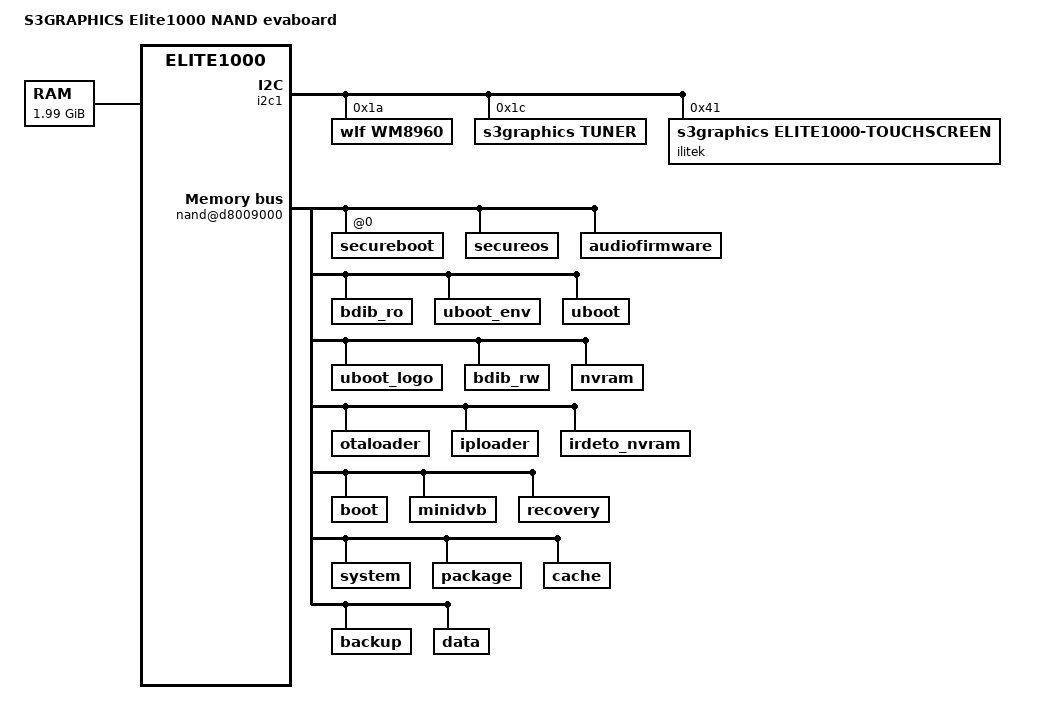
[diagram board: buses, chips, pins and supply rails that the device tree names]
/*
 * Copyright (C) 2013 S3 Graphics - http://www.s3graphics.com/
 *
 * This program is free software; you can redistribute it and/or modify
 * it under the terms of the GNU General Public License version 2 as
 * published by the Free Software Foundation.
 */
/dts-v1/;

/include/ "elite1000.dtsi"


/ {
	model = "S3GRAPHICS Elite1000 NAND evaboard";
	compatible = "s3graphics,board-nand", "s3graphics,elite1000";

	chosen {
		bootargs = "console=ttyS1,115200n8 root=/dev/mmcblk0p1 init=/init rootdelay=2";
	};

	memory {
		reg = < 0x2000000 0x7F800000 >;
	};

	soc {
		uart0: serial@d8200000 {
			status = "disabled";
		};

		cir@d8270000 {
			s3g,cir-mode = <0x0>;
			s3g,wakeup-cfg = <0x0>;
		};

		sdmmc2: sdmmc@d800a800 {
			status = "disabled";
		};

		ehci@d8007800 {
			pwr-gpios = <&gpio 480 0>;
			pwr123-gpios = <&gpio 22 0>;
		};

		i2c1: i2c@d8320000 {
			wm8960: wm8960@1a {
				compatible = "wlf,wm8960";
				reg = <0x1a>;
			};
			tuner@1c {
				compatible = "s3graphics,tuner";
				reg = <0x1c>;
			};
			ilitek@41 {
				compatible = "s3graphics,elite1000-touchscreen";
				reg = <0x41>;
			};
			/*
			wm8326@34 {
				compatible = "wlf,wm8326";
				reg = <0x34>;
			};
			*/
		};

		sound {
			/* for A2 Chip */
			compatible = "s3graphics,elite1000-audio", 
							"s3graphics,elite1000-audio-wm8960";
			s3g,model = "elite-audio";

			s3g,audio-routing =
			"Headphone Jack", "HPOUTR";

			s3g,i2s-controller = <&i2s0>;
			s3g,audio-codec = <&wm8960>;
		};

		nand@d8009000 {
			nand-bus-width = <8>;
			nand-ecc-mode = "hw_syndrome";
			nand-on-flash-bbt;

			secureboot@0 {
				label = "secureboot";
				reg = <0x0 0x400000>;
				read-only;
			};

			secureos@400000 {
				label = "secureos";
				reg = <0x400000 0x400000>;
				read-only;
			};

			audiofirmware@800000 {
				label = "audiofirmware";
				reg = <0x800000 0x400000>;
			};

			bdib_ro@c00000 {
				label = "bdib_ro";
				reg = <0xc00000 0x200000>;
			};

			uboot_env@e00000 {
				label = "uboot_env";
				reg = <0xe00000 0x200000>;
			};

			uboot@1000000 {
				label = "uboot";
				reg = <0x1000000 0x400000>;
				read-only;
			};

			uboot_logo@1400000 {
				label = "uboot_logo";
				reg = <0x1400000 0x800000>;
			};

			bdib_rw@1c00000 {
				label = "bdib_rw";
				reg = <0x1c00000 0x300000>;
			};

			nvram@1f00000 {
				label = "nvram";
				reg = <0x1f00000 0x400000>;
			};

			otaloader@2300000 {
				label = "otaloader";
				reg = <0x2300000 0x2000000>;
			};

			iploader@4300000 {
				label = "iploader";
				reg = <0x4300000 0x2000000>;
			};

			irdeto_nvram@6300000 {
				label = "irdeto_nvram";
				reg = <0x6300000 0x400000>;
			};

			boot@6300000 {
				label = "boot";
				reg = <0x6700000 0x1000000>;
			};

			minidvb@7700000 {
				label = "minidvb";
				reg = <0x7700000 0x2000000>;
			};

			recovery@9700000 {
				label = "recovery";
				reg = <0x9700000 0x2000000>;
			};

			system@b700000 {
				label = "system";
				reg = <0xb700000 0x20000000>;
				read-only;
			};

			package@2b700000 {
				label = "package";
				reg = <0x2b700000 0x8000000>;
			};

			cache@33700000 {
				label = "cache";
				reg = <0x33700000 0x20000000>;
			};

			backup@53700000 {
				label = "backup";
				reg = <0x53700000 0x40000000>;
			};

			data@ffc00000 {
				label = "data";
				reg = <0x93700000 0x6c500000>;
			};
		};
	};
};
